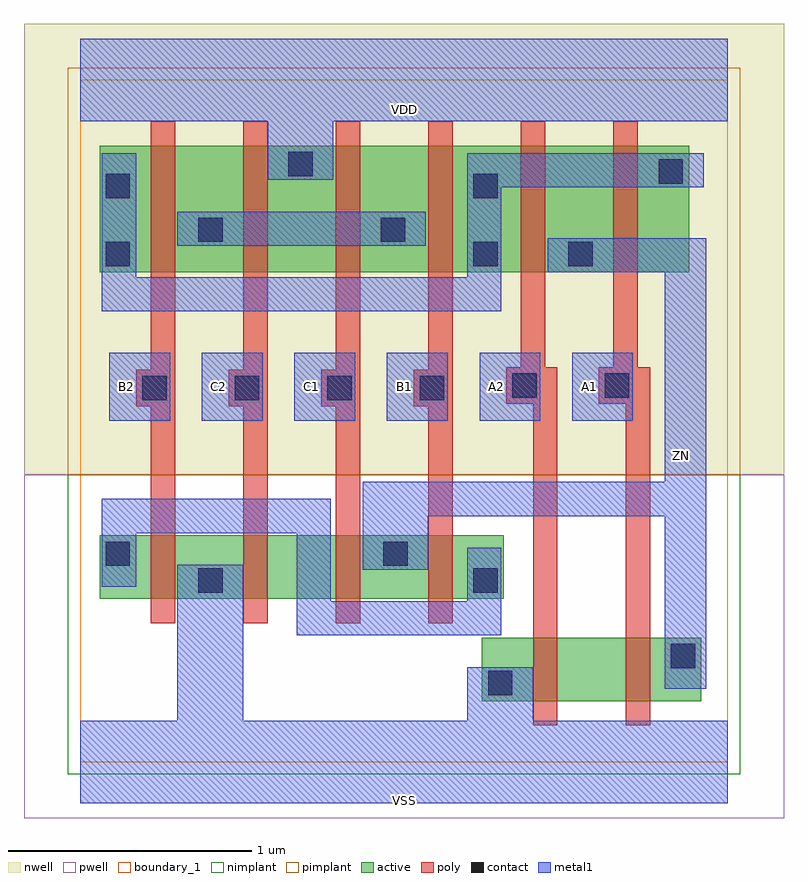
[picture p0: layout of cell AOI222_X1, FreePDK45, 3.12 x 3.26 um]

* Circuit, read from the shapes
.subckt AOI222_X1 A1 A2 B1 B2 C1 C2 VDD VSS ZN
M1 VSS B2 n1 VSUBS nfet w=0.26u l=0.1u
M2 n2 C2 VSS VSUBS nfet w=0.26u l=0.1u
M3 ZN C1 n2 VSUBS nfet w=0.26u l=0.1u
M4 n1 B1 ZN VSUBS nfet w=0.26u l=0.1u
M5 n3 A2 VSS VSUBS nfet w=0.26u l=0.1u
M6 ZN A1 n3 VSUBS nfet w=0.26u l=0.1u
M7 n4 B2 n5 n6 pfet w=0.52u l=0.1u
M8 VDD C2 n4 n6 pfet w=0.52u l=0.1u
M9 n4 C1 VDD n6 pfet w=0.52u l=0.1u
M10 n5 B1 n4 n6 pfet w=0.52u l=0.1u
M11 ZN A2 n5 n6 pfet w=0.52u l=0.1u
M12 n5 A1 ZN n6 pfet w=0.52u l=0.1u
.ends

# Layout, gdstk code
import gdstk
lib = gdstk.Library(unit=1e-6, precision=1e-09)
def R(c, l, rs):  # rectangles x0, y0, x1, y1
    for r in rs: c.add(gdstk.rectangle(r[:2], r[2:], *l))
def A(c, l, x, y, w, h, nx, ny, dx, dy):  # array of equal rectangles
    R(c, l, [(x+i*dx, y+j*dy, x+i*dx+w, y+j*dy+h) for i in range(nx) for j in range(ny)])
def P(c, l, *ps):  # polygons
    for p in ps: c.add(gdstk.Polygon(p, *l))
active = (1, 0)
pwell = (2, 0)
nwell = (3, 0)
nimplant = (4, 0)
pimplant = (5, 0)
poly = (9, 0)
contact = (10, 0)
metal1 = (11, 0)
boundary_1 = (235, 1)

aoi222_x1 = lib.new_cell('AOI222_X1')
R(aoi222_x1, active, [(1.65,0.25,2.55,0.51), (0.08,0.67,1.74,0.93), (0.08,2.01,2.5,2.53)])
R(aoi222_x1, pwell, [(-0.23,-0.23,2.89,1.18)])
R(aoi222_x1, nwell, [(-0.23,1.18,2.89,3.03)])
R(aoi222_x1, nimplant, [(-0.05,-0.05,2.71,1.18)])
R(aoi222_x1, pimplant, [(-0.05,1.18,2.71,2.85)])
P(aoi222_x1, poly, [(2.13,1.47),(2.24,1.47),(2.24,0.15),(2.34,0.15),(2.34,1.62),(2.29,1.62),(2.29,2.63),(2.19,2.63),(2.19,1.62),(2.13,1.62)],
  [(1.75,1.47),(1.86,1.47),(1.86,0.15),(1.96,0.15),(1.96,1.62),(1.91,1.62),(1.91,2.63),(1.81,2.63),(1.81,1.62),(1.75,1.62)],
  [(1.37,1.46),(1.43,1.46),(1.43,0.57),(1.53,0.57),(1.53,2.63),(1.43,2.63),(1.43,1.61),(1.37,1.61)],
  [(0.99,1.46),(1.05,1.46),(1.05,0.57),(1.15,0.57),(1.15,2.63),(1.05,2.63),(1.05,1.61),(0.99,1.61)],
  [(0.61,1.46),(0.67,1.46),(0.67,0.57),(0.77,0.57),(0.77,2.63),(0.67,2.63),(0.67,1.61),(0.61,1.61)],
  [(0.23,1.46),(0.29,1.46),(0.29,0.57),(0.39,0.57),(0.39,2.63),(0.29,2.63),(0.29,1.61),(0.23,1.61)])
A(aoi222_x1, contact, 0.255, 1.485, 0.1, 0.1, 4, 1, 0.38, 0)
R(aoi222_x1, contact, [(1.675,0.275,1.775,0.375), (2.425,0.385,2.525,0.485), (0.485,0.695,0.585,0.795), (1.615,0.695,1.715,0.795), (0.105,0.805,0.205,0.905), (1.245,0.805,1.345,0.905), (1.775,1.495,1.875,1.595), (2.155,1.495,2.255,1.595), (0.105,2.035,0.205,2.135), (1.615,2.035,1.715,2.135), (2.005,2.035,2.105,2.135), (0.485,2.135,0.585,2.235), (1.235,2.135,1.335,2.235), (0.105,2.315,0.205,2.415), (1.615,2.315,1.715,2.415), (2.375,2.375,2.475,2.475), (0.855,2.405,0.955,2.505)])
R(aoi222_x1, metal1, [(0.12,1.4,0.37,1.68), (0.12,1.4,0.37,1.68), (0.5,1.4,0.75,1.68), (0.5,1.4,0.75,1.68), (0.88,1.4,1.13,1.68), (0.88,1.4,1.13,1.68), (1.26,1.4,1.51,1.68), (1.26,1.4,1.51,1.68), (1.64,1.4,1.89,1.68), (1.64,1.4,1.89,1.68), (2.02,1.4,2.27,1.68), (2.02,1.4,2.27,1.68), (0.4,2.12,1.42,2.26)])
P(aoi222_x1, metal1, [(0,-0.17),(2.66,-0.17),(2.66,0.17),(1.86,0.17),(1.86,0.39),(1.59,0.39),(1.59,0.17),(0.67,0.17),(0.67,0.81),(0.4,0.81),(0.4,0.17),(0,0.17)],
  [(1.92,2.01),(2.4,2.01),(2.4,1.15),(1.16,1.15),(1.16,0.79),(1.43,0.79),(1.43,1.01),(2.4,1.01),(2.4,0.3),(2.57,0.3),(2.57,2.15),(1.92,2.15)],
  [(0,2.63),(0.77,2.63),(0.77,2.39),(1.04,2.39),(1.04,2.63),(2.66,2.63),(2.66,2.97),(0,2.97)],
  [(0,2.63),(0.77,2.63),(0.77,2.39),(1.04,2.39),(1.04,2.63),(2.66,2.63),(2.66,2.97),(0,2.97)],
  [(0,-0.17),(2.66,-0.17),(2.66,0.17),(1.86,0.17),(1.86,0.39),(1.59,0.39),(1.59,0.17),(0.67,0.17),(0.67,0.81),(0.4,0.81),(0.4,0.17),(0,0.17)],
  [(1.92,2.01),(2.4,2.01),(2.4,1.15),(1.16,1.15),(1.16,0.79),(1.43,0.79),(1.43,1.01),(2.4,1.01),(2.4,0.3),(2.57,0.3),(2.57,2.15),(1.92,2.15)],
  [(0.09,1.85),(1.73,1.85),(1.73,2.36),(2.56,2.36),(2.56,2.5),(1.59,2.5),(1.59,1.99),(0.23,1.99),(0.23,2.5),(0.09,2.5)],
  [(0.09,0.72),(0.23,0.72),(0.23,0.94),(0.89,0.94),(0.89,0.52),(1.73,0.52),(1.73,0.88),(1.59,0.88),(1.59,0.66),(1.03,0.66),(1.03,1.08),(0.09,1.08)])
R(aoi222_x1, boundary_1, [(0,0,2.66,2.8)])
aoi222_x1.add(gdstk.Label('ZN', (2.47,1.26), layer=11, texttype=0))
aoi222_x1.add(gdstk.Label('VSS', (1.33,-0.16), layer=11, texttype=0))
aoi222_x1.add(gdstk.Label('VDD', (1.33,2.68), layer=11, texttype=0))
aoi222_x1.add(gdstk.Label('C2', (0.57,1.54), layer=11, texttype=0))
aoi222_x1.add(gdstk.Label('C1', (0.95,1.54), layer=11, texttype=0))
aoi222_x1.add(gdstk.Label('B2', (0.19,1.54), layer=11, texttype=0))
aoi222_x1.add(gdstk.Label('B1', (1.33,1.54), layer=11, texttype=0))
aoi222_x1.add(gdstk.Label('A2', (1.71,1.54), layer=11, texttype=0))
aoi222_x1.add(gdstk.Label('A1', (2.09,1.54), layer=11, texttype=0))

lib.write_gds('AOI222_X1.gds')
